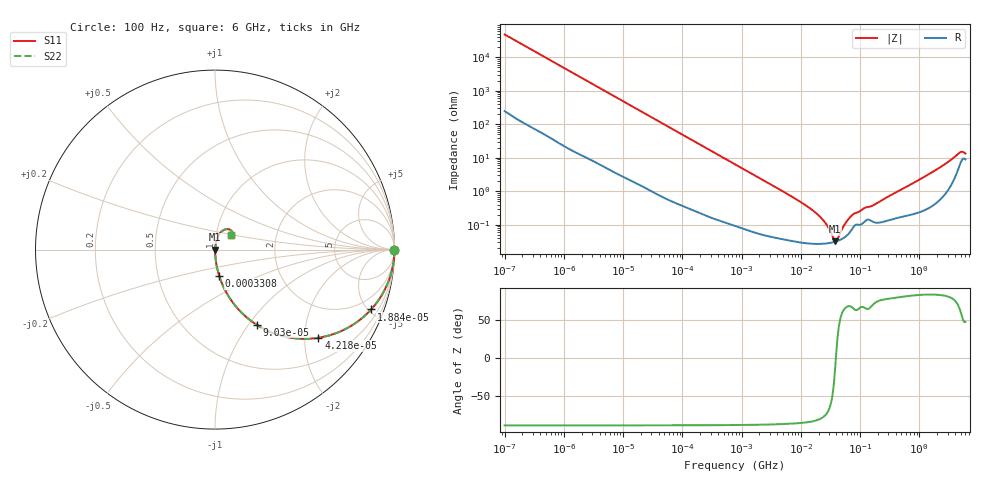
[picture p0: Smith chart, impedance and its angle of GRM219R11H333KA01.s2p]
!Murata Part Number: GRM219R11H333KA01
!These Parameters are Measured in Series Mode Connection
!Data Generated on Mar 30, 2021
!  o--ll--o
!Port1  Port2
!  o------o
!Operation Temp=25[degC], DC Bias Voltage=0[V]
!Freq. Start=100[Hz] Stop=6[GHz] 401[Steps]
# Hz S RI R 50
!Freq.(Hz) S11(Real) S11(Imag) S21(Real) S21(Imag) S12(Real) S12(Imag) S22(Real) S22(Imag)
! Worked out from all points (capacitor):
!   401 points, 100 Hz to 6 GHz, reference 50 ohm
!   read as one part in series: C = 32.9 nF near 109 Hz
!   lowest |Z| = 32.3 mohm at 38.09 MHz (marker M1)
!   series resonance near 39.1 MHz, so ESL is about 500 pH
!   S11 on the Smith chart (normalised r, x): 100 Hz: open; 18.84 kHz: 1.03, -5.21; 42.18 kHz: 1.01, -2.34; 90.3 kHz: 1.01, -1.09; 330.8 kHz: 1.00, -0.30; 6 GHz: 1.18, +0.20
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100  1 -0.00207  1.5e-05 0.00207  1.5e-05 0.00207  1 -0.00207
2008  0.9981 -0.0411  0.0019 0.0411  0.0019 0.0411  0.9981 -0.0411
6728  0.9807 -0.1348  0.0193 0.1348  0.0193 0.1348  0.9807 -0.1348
18841  0.8702 -0.3331  0.1298 0.3331  0.1298 0.3331  0.8702 -0.3331
40335  0.5978 -0.4872  0.4022 0.4872  0.4022 0.4872  0.5978 -0.4872
42182  0.5764 -0.491  0.4236 0.491  0.4236 0.491  0.5764 -0.491
90302  0.2319 -0.4184  0.7681 0.4184  0.7681 0.4184  0.2319 -0.4184
161617  0.0877 -0.2787  0.9123 0.2787  0.9123 0.2787  0.0877 -0.2787
330837  0.0235 -0.1464  0.9765 0.1464  0.9765 0.1464  0.0235 -0.1464
774597  0.00507 -0.0641  0.9949 0.0641  0.9949 0.0641  0.00507 -0.0641
6644369  0.000393 -0.00744  0.9996 0.00744  0.9996 0.00744  0.000393 -0.00744
1.555665e7  0.000281 -0.00278  0.9997 0.00278  0.9997 0.00278  0.000281 -0.00278
2.545746e7  0.000278 -0.00117  0.9997 0.00117  0.9997 0.00117  0.000278 -0.00117
3.482834e7  0.000303 -0.000307  0.9997 0.000307  0.9997 0.000307  0.000303 -0.000307
3.80911e7  0.000315 -6.91e-05  0.9997 6.91e-05  0.9997 6.91e-05  0.000315 -6.91e-05
4.165952e7  0.000332 0.00017  0.9997 -0.00017  0.9997 -0.00017  0.000332 0.00017
5.449875e7  0.000423 0.000916  0.9996 -0.000916  0.9996 -0.000916  0.000423 0.000916
7.455971e7  0.000784 0.00185  0.9992 -0.00185  0.9992 -0.00185  0.000784 0.00185
3.124326e8  0.00144 0.00717  0.9986 -0.00717  0.9986 -0.00717  0.00144 0.00717
1.791126e9  0.00564 0.0402  0.9944 -0.0402  0.9944 -0.0402  0.00564 0.0402
4.586474e9  0.0596 0.1131  0.9404 -0.1131  0.9404 -0.1131  0.0596 0.1131
6e9  0.0905 0.0838  0.9095 -0.0838  0.9095 -0.0838  0.0905 0.0838
